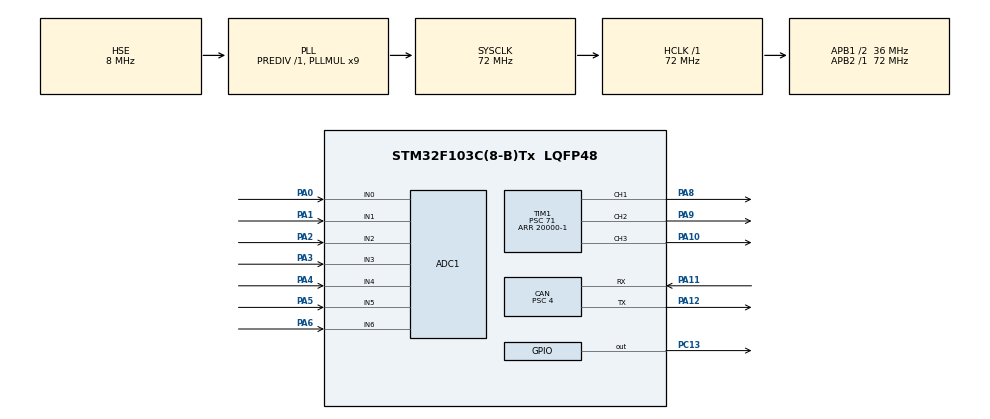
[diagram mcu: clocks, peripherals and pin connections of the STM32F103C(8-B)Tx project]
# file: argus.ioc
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ADC1.Channel-2\#ChannelRegularConversion=ADC_CHANNEL_0
ADC1.Channel-3\#ChannelRegularConversion=ADC_CHANNEL_1
ADC1.Channel-4\#ChannelRegularConversion=ADC_CHANNEL_2
ADC1.ContinuousConvMode=ENABLE
ADC1.NbrOfConversion=3
ADC1.NbrOfConversionFlag=1
ADC1.Rank-2\#ChannelRegularConversion=1
ADC1.Rank-3\#ChannelRegularConversion=2
ADC1.Rank-4\#ChannelRegularConversion=3
ADC1.SamplingTime-2\#ChannelRegularConversion=ADC_SAMPLETIME_239CYCLES_5
ADC1.SamplingTime-3\#ChannelRegularConversion=ADC_SAMPLETIME_239CYCLES_5
ADC1.SamplingTime-4\#ChannelRegularConversion=ADC_SAMPLETIME_239CYCLES_5
ADC1.master=1
CAN.BS1=CAN_BS1_11TQ
CAN.BS2=CAN_BS2_6TQ
CAN.CalculateBaudRate=500000
CAN.CalculateTimeBit=2000
CAN.CalculateTimeQuantum=111.11111111111111
CAN.Prescaler=4
Dma.ADC1.0.Direction=DMA_PERIPH_TO_MEMORY
Dma.ADC1.0.Instance=DMA1_Channel1
Dma.ADC1.0.MemDataAlignment=DMA_MDATAALIGN_HALFWORD
Dma.ADC1.0.MemInc=DMA_MINC_ENABLE
Dma.ADC1.0.Mode=DMA_CIRCULAR
Dma.ADC1.0.PeriphDataAlignment=DMA_PDATAALIGN_HALFWORD
Dma.ADC1.0.PeriphInc=DMA_PINC_DISABLE
Dma.ADC1.0.Priority=DMA_PRIORITY_LOW
Dma.Request0=ADC1
Mcu.Family=STM32F1
Mcu.Name=STM32F103C(8-B)Tx
Mcu.Package=LQFP48
NVIC.ADC1_2_IRQn=true\:0\:0\:false\:false\:true\:true\:true\:true
NVIC.CAN1_RX1_IRQn=true\:0\:0\:false\:false\:true\:true\:true\:true
NVIC.CAN1_SCE_IRQn=true\:0\:0\:false\:false\:true\:true\:true\:true
NVIC.DMA1_Channel1_IRQn=true\:0\:0\:false\:false\:true\:false\:true\:true
NVIC.PriorityGroup=NVIC_PRIORITYGROUP_4
NVIC.USB_HP_CAN1_TX_IRQn=true\:0\:0\:false\:false\:true\:true\:true\:true
NVIC.USB_LP_CAN1_RX0_IRQn=true\:0\:0\:false\:false\:true\:true\:true\:true
PA0-WKUP.Signal=ADCx_IN0
PA1.Signal=ADCx_IN1
PA10.Signal=S_TIM1_CH3
PA11.Mode=CAN_Activate
PA11.Signal=CAN_RX
PA12.Mode=CAN_Activate
PA12.Signal=CAN_TX
PA13.Mode=Serial_Wire
PA13.Signal=SYS_JTMS-SWDIO
PA14.Mode=Serial_Wire
PA14.Signal=SYS_JTCK-SWCLK
PA2.Signal=ADCx_IN2
PA3.Signal=ADCx_IN3
PA4.Signal=ADCx_IN4
PA5.Signal=ADCx_IN5
PA6.Signal=ADCx_IN6
PA8.Signal=S_TIM1_CH1
PA9.Signal=S_TIM1_CH2
PC13-TAMPER-RTC.Signal=GPIO_Output
PD0-OSC_IN.Mode=HSE-External-Oscillator
PD0-OSC_IN.Signal=RCC_OSC_IN
PD1-OSC_OUT.Mode=HSE-External-Oscillator
PD1-OSC_OUT.Signal=RCC_OSC_OUT
ProjectManager.HeapSize=0x200
ProjectManager.StackSize=0x400
ProjectManager.TargetToolchain=CMake
RCC.ADCPresc=RCC_ADCPCLK2_DIV6
RCC.AHBFreq_Value=72000000
RCC.APB1CLKDivider=RCC_HCLK_DIV2
RCC.APB1Freq_Value=36000000
RCC.APB1TimFreq_Value=72000000
RCC.APB2Freq_Value=72000000
RCC.APB2TimFreq_Value=72000000
RCC.HCLKFreq_Value=72000000
RCC.PLLMUL=RCC_PLL_MUL9
RCC.PLLSourceVirtual=RCC_PLLSOURCE_HSE
RCC.SYSCLKFreq_VALUE=72000000
RCC.SYSCLKSource=RCC_SYSCLKSOURCE_PLLCLK
RCC.USBFreq_Value=72000000
SH.ADCx_IN0.0=ADC1_IN0,IN0
SH.ADCx_IN1.0=ADC1_IN1,IN1
SH.ADCx_IN2.0=ADC1_IN2,IN2
SH.ADCx_IN3.0=ADC1_IN3,IN3
SH.ADCx_IN4.0=ADC1_IN4,IN4
SH.ADCx_IN5.0=ADC1_IN5,IN5
SH.ADCx_IN6.0=ADC1_IN6,IN6
SH.S_TIM1_CH1.0=TIM1_CH1,PWM Generation1 CH1
SH.S_TIM1_CH2.0=TIM1_CH2,PWM Generation2 CH2
SH.S_TIM1_CH3.0=TIM1_CH3,PWM Generation3 CH3
TIM1.AutoReloadPreload=TIM_AUTORELOAD_PRELOAD_ENABLE
TIM1.Channel-PWM\ Generation1\ CH1=TIM_CHANNEL_1
TIM1.Channel-PWM\ Generation2\ CH2=TIM_CHANNEL_2
TIM1.Channel-PWM\ Generation3\ CH3=TIM_CHANNEL_3
TIM1.Period=20000-1
TIM1.Prescaler=71
board=custom

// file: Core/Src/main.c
/* USER CODE BEGIN Header */
/**
  ******************************************************************************
  * @file           : main.c
  * @brief          : Main program body
  ******************************************************************************
  * @attention
  *
  * Copyright (c) 2026 STMicroelectronics.
  * All rights reserved.
  *
  * This software is licensed under terms that can be found in the LICENSE file
  * in the root directory of this software component.
  * If no LICENSE file comes with this software, it is provided AS-IS.
  *
  ******************************************************************************
  */
/* USER CODE END Header */
#include "main.h"
#include "adc.h"
#include "can.h"
#include "tim.h"
#include "gpio.h"

/* USER CODE BEGIN PV */
#define VREF        3.3f
#define ADC_MAX     4095.0f
#define DIV_K       (2.0f / 3.0f)    // делитель 10k/20k
#define SENS        0.185f           // В/А для ACS712-05B

static float offset_v = 2.5f;        // напряжение при нуле тока
float current = 0.0f;                // измеренный ток, А
volatile uint16_t adc_avg = 0;       // среднее значение АЦП (заполняется в прерывании)
/* USER CODE END PV */

void SystemClock_Config(void);

/* USER CODE BEGIN 0 */
static float adc_sensor_volts(void)
{
  float v_adc = adc_avg * VREF / ADC_MAX;
  return v_adc / DIV_K;              // напряжение на выходе датчика
}

static float get_current(void)
{
  return (adc_sensor_volts() - offset_v) / SENS;   // Амперы
}
/* USER CODE END 0 */

int main(void)
{

  /* MCU Configuration--------------------------------------------------------*/

  /* Reset of all peripherals, Initializes the Flash interface and the Systick. */
  HAL_Init();

  /* Configure the system clock */
  SystemClock_Config();

  /* Initialize all configured peripherals */
  MX_GPIO_Init();
  MX_TIM1_Init();
  MX_ADC1_Init();
  MX_CAN_Init();
  /* USER CODE BEGIN 2 */
  HAL_TIM_PWM_Start(&htim1, TIM_CHANNEL_1);
  HAL_TIM_PWM_Start(&htim1, TIM_CHANNEL_2);
  HAL_TIM_PWM_Start(&htim1, TIM_CHANNEL_3);

  __HAL_TIM_SET_COMPARE(&htim1, TIM_CHANNEL_1, 1500);
  __HAL_TIM_SET_COMPARE(&htim1, TIM_CHANNEL_2, 1500);
  __HAL_TIM_SET_COMPARE(&htim1, TIM_CHANNEL_3, 1500);

  CAN_FilterTypeDef filter = {0};
  filter.FilterIdHigh = 0x0000;
  filter.FilterIdLow = 0x0000;
  filter.FilterMaskIdHigh = 0x0000;
  filter.FilterMaskIdLow = 0x0000;
  filter.FilterFIFOAssignment = CAN_RX_FIFO0;
  filter.FilterBank = 0;
  filter.FilterMode = CAN_FILTERMODE_IDMASK;
  filter.FilterScale = CAN_FILTERSCALE_32BIT;
  filter.FilterActivation = ENABLE;
  filter.SlaveStartFilterBank = 14;

  if (HAL_CAN_ConfigFilter(&hcan, &filter) != HAL_OK) {
      Error_Handler();
  }

  if (HAL_CAN_Start(&hcan) != HAL_OK) {
      Error_Handler();
  }

  if (HAL_CAN_ActivateNotification(&hcan,
          CAN_IT_RX_FIFO0_MSG_PENDING |
          CAN_IT_TX_MAILBOX_EMPTY |
          CAN_IT_ERROR) != HAL_OK) {
      Error_Handler();
  }

  HAL_ADCEx_Calibration_Start(&hadc1);
  HAL_ADC_Start_IT(&hadc1);          // запуск, дальше всё идёт по прерываниям
  HAL_Delay(100);                    // ждём первых усреднённых данных
  offset_v = adc_sensor_volts();     // калибровка нуля: ток должен быть 0!
  /* USER CODE END 2 */

  /* Infinite loop */
  /* USER CODE BEGIN WHILE */
  while (1)
  {
    CAN_TxHeaderTypeDef txHeader;
    uint8_t txData[8] = {0x11, 0x22, 0x33, 0x44, 0x55, 0x66, 0x77, 0x88};
    uint32_t txMailbox;

    txHeader.StdId = 0x123;         // стандартный ID
    txHeader.ExtId = 0;
    txHeader.IDE   = CAN_ID_STD;
    txHeader.RTR   = CAN_RTR_DATA;
    txHeader.DLC   = 8;
    txHeader.TransmitGlobalTime = DISABLE;

    if (HAL_CAN_AddTxMessage(&hcan, &txHeader, txData, &txMailbox) != HAL_OK) {
        Error_Handler();
    }

    HAL_Delay(100);
    // __HAL_TIM_SET_COMPARE(&htim1, TIM_CHANNEL_1, 1500);
    // __HAL_TIM_SET_COMPARE(&htim1, TIM_CHANNEL_2, 500);
    // __HAL_TIM_SET_COMPARE(&htim1, TIM_CHANNEL_3, 500);
    // HAL_Delay(2000);

    // __HAL_TIM_SET_COMPARE(&htim1, TIM_CHANNEL_3, 500);
    // HAL_Delay(2000);
    // __HAL_TIM_SET_COMPARE(&htim1, TIM_CHANNEL_3, 2500);
    // HAL_Delay(2000);

    // __HAL_TIM_SET_COMPARE(&htim1, TIM_CHANNEL_1, 500);
    // __HAL_TIM_SET_COMPARE(&htim1, TIM_CHANNEL_2, 500);
    // HAL_Delay(2000);
    // __HAL_TIM_SET_COMPARE(&htim1, TIM_CHANNEL_1, 2500);
    // __HAL_TIM_SET_COMPARE(&htim1, TIM_CHANNEL_2, 2500);
    // HAL_Delay(2000);
    /* USER CODE END WHILE */

  }
}

void SystemClock_Config(void)
{
  RCC_OscInitTypeDef RCC_OscInitStruct = {0};
  RCC_ClkInitTypeDef RCC_ClkInitStruct = {0};
  RCC_PeriphCLKInitTypeDef PeriphClkInit = {0};

  /** Initializes the RCC Oscillators according to the specified parameters
  * in the RCC_OscInitTypeDef structure.
  */
  RCC_OscInitStruct.OscillatorType = RCC_OSCILLATORTYPE_HSE;
  RCC_OscInitStruct.HSEState = RCC_HSE_ON;
  RCC_OscInitStruct.HSEPredivValue = RCC_HSE_PREDIV_DIV1;
  RCC_OscInitStruct.HSIState = RCC_HSI_ON;
  RCC_OscInitStruct.PLL.PLLState = RCC_PLL_ON;
  RCC_OscInitStruct.PLL.PLLSource = RCC_PLLSOURCE_HSE;
  RCC_OscInitStruct.PLL.PLLMUL = RCC_PLL_MUL9;
  if (HAL_RCC_OscConfig(&RCC_OscInitStruct) != HAL_OK)
  {
    Error_Handler();
  }

  /** Initializes the CPU, AHB and APB buses clocks
  */
  RCC_ClkInitStruct.ClockType = RCC_CLOCKTYPE_HCLK|RCC_CLOCKTYPE_SYSCLK
                              |RCC_CLOCKTYPE_PCLK1|RCC_CLOCKTYPE_PCLK2;
  RCC_ClkInitStruct.SYSCLKSource = RCC_SYSCLKSOURCE_PLLCLK;
  RCC_ClkInitStruct.AHBCLKDivider = RCC_SYSCLK_DIV1;
  RCC_ClkInitStruct.APB1CLKDivider = RCC_HCLK_DIV2;
  RCC_ClkInitStruct.APB2CLKDivider = RCC_HCLK_DIV1;

  if (HAL_RCC_ClockConfig(&RCC_ClkInitStruct, FLASH_LATENCY_2) != HAL_OK)
  {
    Error_Handler();
  }
  PeriphClkInit.PeriphClockSelection = RCC_PERIPHCLK_ADC;
  PeriphClkInit.AdcClockSelection = RCC_ADCPCLK2_DIV6;
  if (HAL_RCCEx_PeriphCLKConfig(&PeriphClkInit) != HAL_OK)
  {
    Error_Handler();
  }
}

/* USER CODE BEGIN 4 */
void HAL_CAN_RxFifo0MsgPendingCallback(CAN_HandleTypeDef *hcan)
{
    CAN_RxHeaderTypeDef rxHeader;
    uint8_t rxData[8];

    if (HAL_CAN_GetRxMessage(hcan, CAN_RX_FIFO0, &rxHeader, rxData) == HAL_OK)
    {
        // rxHeader.StdId — ID, rxHeader.DLC — длина, rxData — данные
        // Например, эхо-ответ:
        HAL_CAN_AddTxMessage(hcan, &rxHeader, rxData, (uint32_t*)&(uint32_t){0});
    }
}

void HAL_ADC_ConvCpltCallback(ADC_HandleTypeDef *hadc)
{
  static uint32_t sum = 0;
  static uint8_t  n = 0;

  sum += HAL_ADC_GetValue(hadc);
  if (++n == 64)
  {
    adc_avg = sum / 64;
    sum = 0;
    n = 0;
    current = get_current();
  }
}
/* USER CODE END 4 */

void Error_Handler(void)
{
  __disable_irq();
  while (1)
  {
  }
}
